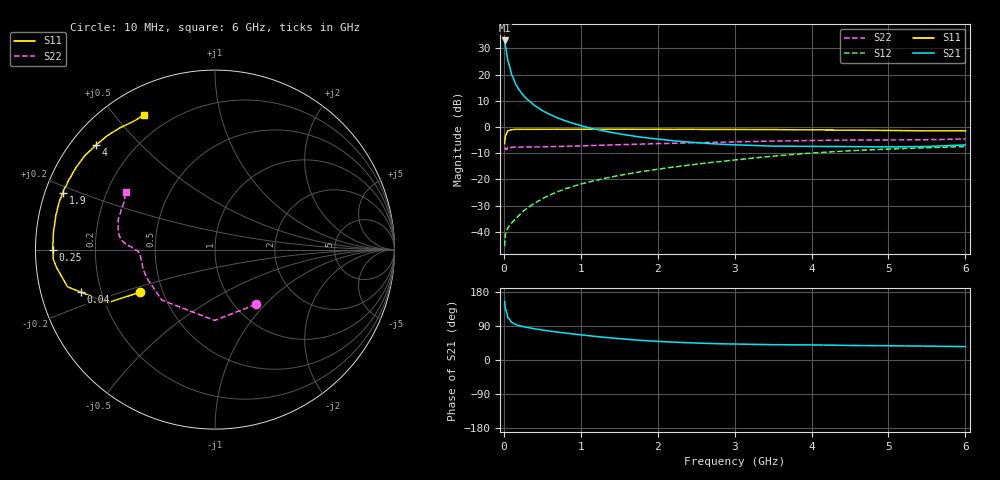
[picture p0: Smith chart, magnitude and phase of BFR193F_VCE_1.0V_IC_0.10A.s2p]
! Infineon Technologies  Discrete & RF Semiconductors
! BFR193F
! VCE =  1.0 V,  IC = 0.10 A
! Common Emitter S-Parameters:  Jan 2017
# GHz  S  MA  R  50
!  f  S11  S21  S12  S22
! GHz  MAG  ANG  MAG  ANG  MAG  ANG  MAG  ANG
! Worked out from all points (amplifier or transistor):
!   77 points, 10 MHz to 6 GHz, reference 50 ohm
!   highest |S21| = 33.1 dB at 10 MHz (marker M1)
!   |S21| within 3 dB of that: start of sweep to 26.56 MHz
!   unconditionally stable (mu >= 1): start of sweep to 16.1 MHz; 175.3 MHz to end of sweep
!   at 130 MHz: K = 0.89, MSG = 27.0 dB, |S12| = -35.8 dB
!   at 2.2 GHz: K = 1.17, MAG = 2.6 dB, |S12| = -15.3 dB
!   at 6 GHz: K = 1.07, MAG = -1.3 dB, |S12| = -7.4 dB
!   S11 on the Smith chart (normalised r, x): 10 MHz: 0.37, -0.23; 40 MHz: 0.12, -0.15; 250 MHz: 0.05, +0.00; 1.9 GHz: 0.05, +0.18; 4 GHz: 0.07, +0.38; 6 GHz: 0.11, +0.60
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0.01  0.4809 -150.4  45.03 154.4  0.0053 61.4  0.3806 -53.4
0.02  0.668 -153.7  36.02 135.5  0.0088 49.5  0.3947 -90.3
0.04  0.7837 -162.4  24.11 123.1  0.0108 43.4  0.3757 -121.9
0.05  0.8469 -165.8  18.98 111.3  0.0118 41.1  0.4086 -136.5
0.1  0.8889 -173.6  10.06 99.0  0.0146 44.0  0.4123 -157.8
0.15  0.9025 -176.6  6.796 93.9  0.0174 53.7  0.415 -165.1
0.2  0.9027 -178.6  5.101 90.5  0.0207 58.6  0.4136 -168.6
0.25  0.9048 180.0  4.085 88.1  0.0245 61.4  0.414 -171.4
0.3  0.9042 178.9  3.414 86.0  0.028 64.4  0.4158 -172.8
0.4  0.9032 177.1  2.563 82.2  0.0351 67.7  0.417 -175.0
0.5  0.9046 175.5  2.064 79.2  0.0426 71.0  0.4179 -176.4
0.7  0.9056 172.6  1.49 73.6  0.0582 73.0  0.4244 -177.9
0.9  0.9052 170.0  1.176 68.6  0.0733 74.1  0.4332 -179.1
1.1  0.9073 167.9  0.976 64.2  0.0887 74.3  0.4422 -179.8
1.4  0.9068 164.5  0.789 58.1  0.1117 73.8  0.4541 179.2
1.9  0.9043 159.5  0.611 50.4  0.1487 72.3  0.4764 177.7
2.1  0.904 157.5  0.568 48.2  0.1639 71.8  0.485 177.2
3.1  0.8974 148.1  0.452 41.8  0.2429 67.1  0.5236 174.0
4  0.8822 138.7  0.427 39.8  0.318 60.4  0.5525 167.8
4.1  0.8799 137.6  0.426 39.5  0.3247 59.4  0.5545 166.8
5.1  0.8569 126.8  0.419 37.4  0.3837 50.6  0.568 155.9
6  0.8479 118.0  0.455 35.4  0.4249 44.2  0.5916 147.3
